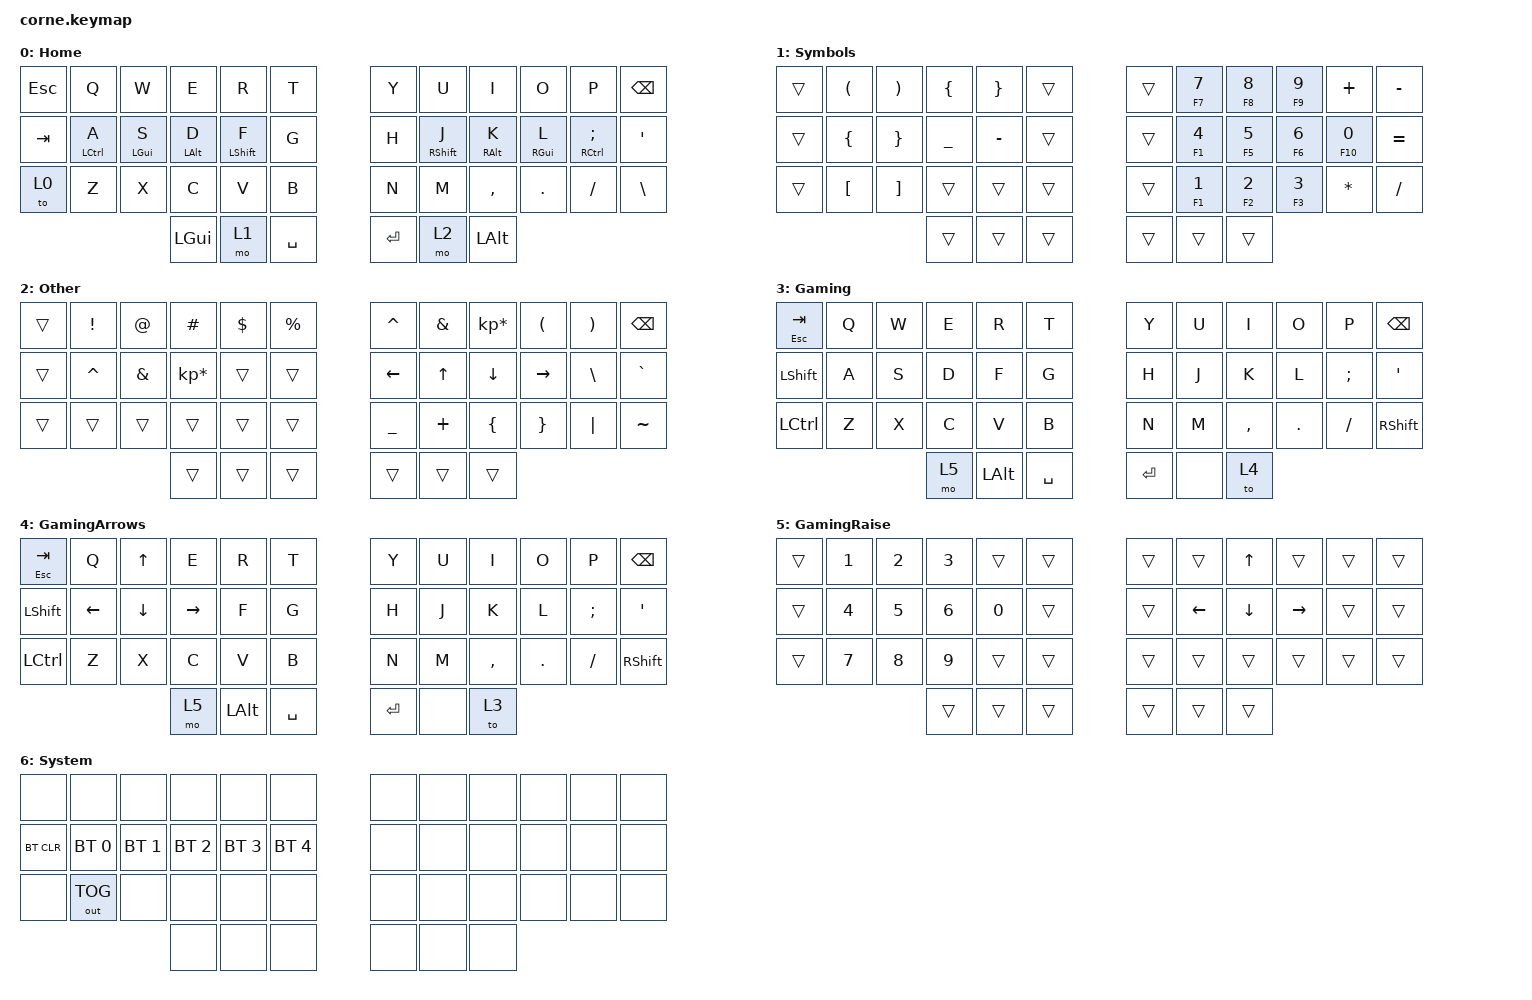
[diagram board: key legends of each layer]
/*
 * Copyright (c) 2020 The ZMK Contributors
 *
 * SPDX-License-Identifier: MIT
 */

#include <behaviors.dtsi>
#include <dt-bindings/zmk/bt.h>
#include <dt-bindings/zmk/keys.h>
#include <dt-bindings/zmk/outputs.h>

/ {
    combos {
        compatible = "zmk,combos";

        System {
            bindings = <&sl 6>;
            key-positions = <37 40>;
        };

        Gaming {
            bindings = <&tog 3>;
            key-positions = <41 36>;
        };

        Home {
            bindings = <&to 0>;
            key-positions = <36 40 41 37>;
        };
    };

    behaviors {
        home_mod: home_mod {
            compatible = "zmk,behavior-hold-tap";
            label = "HOME_MOD";
            bindings = <&kp>, <&kp>;

            #binding-cells = <2>;
            flavor = "balanced";
            tapping-term-ms = <200>;
        };
    };

    keymap {
        compatible = "zmk,keymap";

        Home {
            // -----------------------------------------------------------------------------------------
            // |  TAB |  Q  |  W  |  E  |  R  |  T  |   |  Y  |  U   |  I  |  O  |  P  | BKSP |
            // | CTRL |  A  |  S  |  D  |  F  |  G  |   |  H  |  J   |  K  |  L  |  ;  |  '   |
            // | SHFT |  Z  |  X  |  C  |  V  |  B  |   |  N  |  M   |  ,  |  .  |  /  | ESC  |
            //                    | GUI | LWR | SPC |   | ENT | RSE  | ALT |

            bindings = <
&kp ESCAPE  &kp Q              &kp W                 &kp E                 &kp R              &kp T        &kp Y    &kp U                    &kp I                  &kp O                  &kp P                      &kp BSPC
&kp TAB     &home_mod LCTRL A  &home_mod LEFT_GUI S  &home_mod LEFT_ALT D  &home_mod LSHFT F  &kp G        &kp H    &home_mod RIGHT_SHIFT J  &home_mod RIGHT_ALT K  &home_mod RIGHT_GUI L  &home_mod RCTRL SEMICOLON  &kp SQT
&to 0       &kp Z              &kp X                 &kp C                 &kp V              &kp B        &kp N    &kp M                    &kp COMMA              &kp DOT                &kp FSLH                   &kp BACKSLASH
                                                     &kp LGUI              &mo 1              &kp SPACE    &kp RET  &mo 2                    &kp LALT
            >;
        };

        Symbols {
            bindings = <
&trans  &kp LEFT_PARENTHESIS  &kp RIGHT_PARENTHESIS  &kp LEFT_BRACE  &kp RIGHT_BRACE  &trans    &trans  &mt F7 N7  &mt F8 N8  &mt F9 N9  &kp PLUS      &kp MINUS
&trans  &kp LEFT_BRACE        &kp RIGHT_BRACE        &kp UNDER       &kp MINUS        &trans    &trans  &mt F1 N4  &mt F5 N5  &mt F6 N6  &mt F10 N0    &kp EQUAL
&trans  &kp LEFT_BRACKET      &kp RIGHT_BRACKET      &trans          &trans           &trans    &trans  &mt F1 N1  &mt F2 N2  &mt F3 N3  &kp ASTERISK  &kp SLASH
                                                     &trans          &trans           &trans    &trans  &trans     &trans
            >;
        };

        Other {
            // -----------------------------------------------------------------------------------------
            // |  TAB |  !  |  @  |  #  |  $  |  %  |   |  ^  |  &  |  *  |  (  |  )  | BKSP |
            // | CTRL |     |     |     |     |     |   |  -  |  =  |  [  |  ]  |  \  |  `   |
            // | SHFT |     |     |     |     |     |   |  _  |  +  |  {  |  }  | "|" |  ~   |
            //                    | GUI |     | SPC |   | ENT |     | ALT |

            bindings = <
&trans  &kp EXCL   &kp AT         &kp HASH         &kp DLLR  &kp PRCNT    &kp CARET  &kp AMPS      &kp KP_MULTIPLY  &kp LPAR   &kp RPAR  &kp BSPC
&trans  &kp CARET  &kp AMPERSAND  &kp KP_ASTERISK  &trans    &trans       &kp LEFT   &kp UP_ARROW  &kp DOWN         &kp RIGHT  &kp BSLH  &kp GRAVE
&trans  &trans     &trans         &trans           &trans    &trans       &kp UNDER  &kp PLUS      &kp LBRC         &kp RBRC   &kp PIPE  &kp TILDE
                                  &trans           &trans    &trans       &trans     &trans        &trans
            >;
        };

        Gaming {
            bindings = <
&mt ESCAPE TAB  &kp Q  &kp W  &kp E  &kp R         &kp T        &kp Y    &kp U  &kp I      &kp O    &kp P     &kp BSPC
&kp LSHFT       &kp A  &kp S  &kp D  &kp F         &kp G        &kp H    &kp J  &kp K      &kp L    &kp SEMI  &kp APOS
&kp LCTRL       &kp Z  &kp X  &kp C  &kp V         &kp B        &kp N    &kp M  &kp COMMA  &kp DOT  &kp FSLH  &kp RSHFT
                              &mo 5  &kp LEFT_ALT  &kp SPACE    &kp RET  &none  &to 4
            >;
        };

        GamingArrows {
            bindings = <
&mt ESCAPE TAB  &kp Q           &kp UP_ARROW    &kp E            &kp R         &kp T        &kp Y    &kp U  &kp I      &kp O    &kp P     &kp BSPC
&kp LSHFT       &kp LEFT_ARROW  &kp DOWN_ARROW  &kp RIGHT_ARROW  &kp F         &kp G        &kp H    &kp J  &kp K      &kp L    &kp SEMI  &kp APOS
&kp LCTRL       &kp Z           &kp X           &kp C            &kp V         &kp B        &kp N    &kp M  &kp COMMA  &kp DOT  &kp FSLH  &kp RSHFT
                                                &mo 5            &kp LEFT_ALT  &kp SPACE    &kp RET  &none  &to 3
            >;
        };

        GamingRaise {
            bindings = <
&trans  &kp N1  &kp N2  &kp N3  &trans  &trans    &trans  &trans    &kp UP_ARROW    &trans     &trans  &trans
&trans  &kp N4  &kp N5  &kp N6  &kp N0  &trans    &trans  &kp LEFT  &kp DOWN_ARROW  &kp RIGHT  &trans  &trans
&trans  &kp N7  &kp N8  &kp N9  &trans  &trans    &trans  &trans    &trans          &trans     &trans  &trans
                        &trans  &trans  &trans    &trans  &trans    &trans
            >;
        };

        System {
            // -----------------------------------------------------------------------------------------
            // |  TAB |  1  |  2  |  3  |  4  |  5  |   |  6  |  7  |  8  |  9  |  0  | BKSP |
            // | BTCLR| BT1 | BT2 | BT3 | BT4 | BT5 |   | LFT | DWN |  UP | RGT |     |      |
            // | SHFT |     |     |     |     |     |   |     |     |     |     |     |      |
            //                    | GUI |     | SPC |   | ENT |     | ALT |

            bindings = <
&none       &none         &none         &none         &none         &none           &none  &none  &none  &none  &none  &none
&bt BT_CLR  &bt BT_SEL 0  &bt BT_SEL 1  &bt BT_SEL 2  &bt BT_SEL 3  &bt BT_SEL 4    &none  &none  &none  &none  &none  &none
&none       &out OUT_TOG  &none         &none         &none         &none           &none  &none  &none  &none  &none  &none
                                        &none         &none         &none           &none  &none  &none
            >;
        };
    };
};
